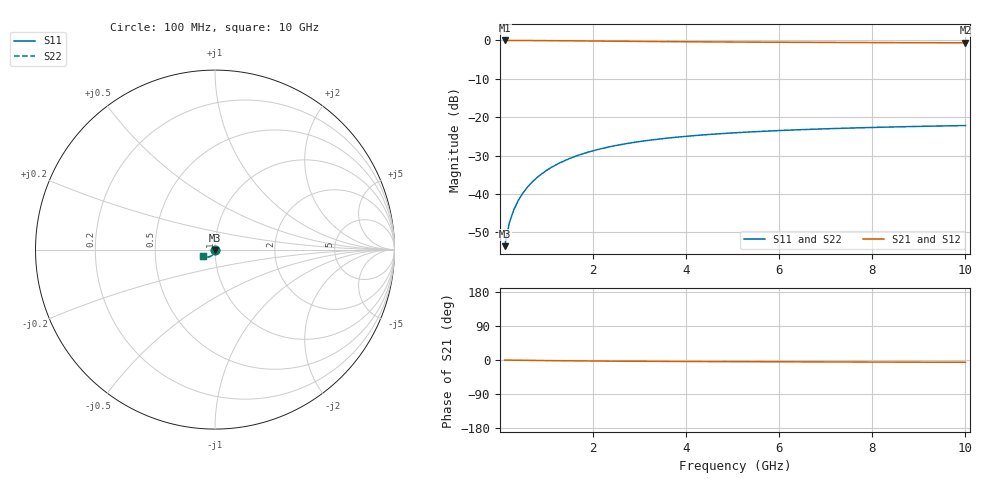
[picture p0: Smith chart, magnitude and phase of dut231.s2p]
! Touchstone file exported from HFSS 2024.1.0
!  File:  C:/UserFiles/LocalFiles/RDL_TSV_Batchsim/temp_TSV1_231_1779388778.aedt
!  Generated:  02:44:32 AM May 22, 2026
!  Design:  TSV1
!  Project:  temp_TSV1_231_1779388778
!  Setup:  Setup1
!  Solution:  Sweep
! Variables:
!  dtsv = 14.24um
!  hbump = 3um
!  htsv = 90.05um
!  lrdl = 252.1521522um
!  p = 40
!  p1 = 43.73um
!  t = 500um
!  trdl = 3um
!  wrdl = 24.89489489um
# GHz S MA R 50.000000
! Terminal data exported
! Port[1] = TSV22_T1
! Port[2] = TSV22_T2
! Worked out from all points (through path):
!   100 points, 100 MHz to 10 GHz, reference 50 ohm
!   highest |S21| = 0.00 dB at 100 MHz (marker M1); lowest = -0.6 dB at 10 GHz (marker M2)
!   lowest |S11| = -53.6 dB at 100 MHz (marker M3), VSWR 1.00, Z = 50 - j0.209 ohm
!   |S11| at or under -10 dB: start of sweep to end of sweep
!   |S22| runs from -53.6 to -22.2 dB; largest |S21 - S12| = 4.2e-15
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0.1  0.002094 -89.0  0.9998 -0.2  0.9998 -0.2  0.002094 -89.0
! Gamma 0 0 0 0
! Port Impedance 50 0 50 0
0.2  0.004189 -91.6  0.9997 -0.3  0.9997 -0.3  0.004189 -91.6
0.3  0.006283 -93.5  0.9994 -0.5  0.9994 -0.5  0.006283 -93.5
0.4  0.008367 -95.2  0.9989 -0.6  0.9989 -0.6  0.008367 -95.2
0.5  0.01043 -96.9  0.9984 -0.8  0.9984 -0.8  0.01043 -96.9
0.6  0.01247 -98.5  0.9978 -0.9  0.9978 -0.9  0.01247 -98.5
0.7  0.01448 -100.1  0.9972 -1.1  0.9972 -1.1  0.01448 -100.1
0.8  0.01646 -101.6  0.9964 -1.2  0.9964 -1.2  0.01646 -101.6
0.9  0.01839 -103.1  0.9955 -1.4  0.9955 -1.4  0.01839 -103.1
1.1  0.02214 -106.0  0.9937 -1.6  0.9937 -1.6  0.02214 -106.0
1.4  0.0274 -110.1  0.9905 -2.0  0.9905 -2.0  0.0274 -110.1
1.6  0.03066 -112.6  0.9882 -2.2  0.9882 -2.2  0.03066 -112.6
1.8  0.03372 -115.0  0.9858 -2.4  0.9858 -2.4  0.03372 -115.0
2.1  0.03794 -118.3  0.9822 -2.7  0.9822 -2.7  0.03794 -118.3
2.5  0.04292 -122.3  0.9774 -3.1  0.9774 -3.1  0.04292 -122.3
2.9  0.04723 -125.9  0.9728 -3.3  0.9728 -3.3  0.04723 -125.9
3.4  0.05184 -129.7  0.9675 -3.6  0.9675 -3.6  0.05184 -129.7
4.2  0.0578 -134.7  0.9602 -4.0  0.9602 -4.0  0.0578 -134.7
5.1  0.06299 -139.1  0.9533 -4.4  0.9533 -4.4  0.06299 -139.1
6.7  0.06969 -144.9  0.9441 -5.0  0.9441 -5.0  0.06969 -144.9
8.4  0.07461 -149.3  0.9371 -5.5  0.9371 -5.5  0.07461 -149.3
10  0.07797 -152.3  0.9322 -6.0  0.9322 -6.0  0.07797 -152.4
